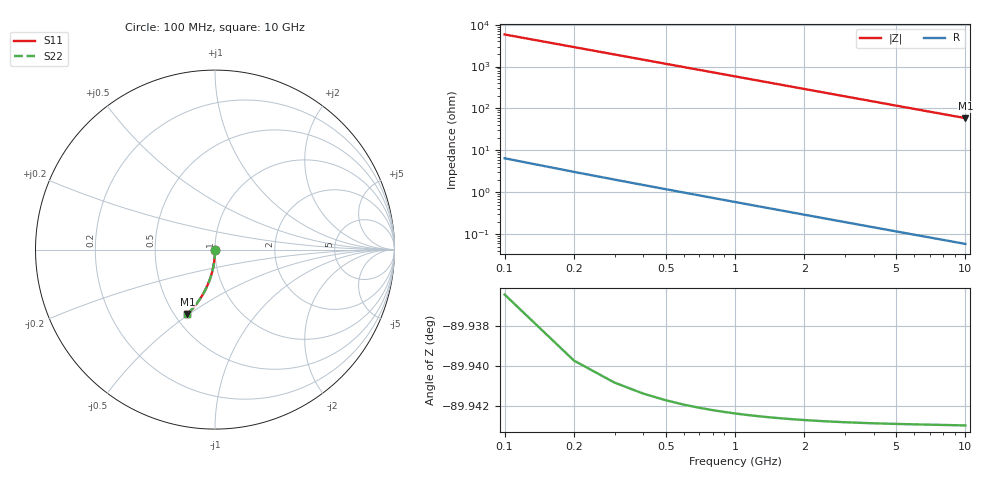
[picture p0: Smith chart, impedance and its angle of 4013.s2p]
# Hz S RI R 50.00
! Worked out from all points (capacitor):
!   100 points, 100 MHz to 10 GHz, reference 50 ohm
!   read as one part in shunt: C = 274 fF near 100 MHz
!   lowest |Z| = 58.7 ohm at 10 GHz (marker M1)
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1e8  -1.8e-05 -0.00428  1 -0.00432  1 -0.00432  -1.8e-05 -0.00428
2e8  -7.77e-05 -0.00857  0.9999 -0.00863  0.9999 -0.00863  -7.77e-05 -0.00857
3e8  -0.000174 -0.0128  0.9998 -0.0129  0.9998 -0.0129  -0.000174 -0.0128
4e8  -0.000308 -0.0171  0.9997 -0.0173  0.9997 -0.0173  -0.000308 -0.0171
5e8  -0.000478 -0.0214  0.9995 -0.0216  0.9995 -0.0216  -0.000478 -0.0214
6e8  -0.000686 -0.0257  0.9993 -0.0259  0.9993 -0.0259  -0.000686 -0.0257
7e8  -0.00093 -0.03  0.9991 -0.0302  0.9991 -0.0302  -0.00093 -0.03
8e8  -0.00121 -0.0342  0.9988 -0.0345  0.9988 -0.0345  -0.00121 -0.0342
9e8  -0.00153 -0.0385  0.9985 -0.0388  0.9985 -0.0388  -0.00153 -0.0385
1.1e9  -0.00227 -0.047  0.9977 -0.0473  0.9977 -0.0473  -0.00227 -0.047
1.4e9  -0.00366 -0.0597  0.9963 -0.0602  0.9963 -0.0602  -0.00366 -0.0597
1.8e9  -0.00601 -0.0766  0.994 -0.0771  0.994 -0.0771  -0.00601 -0.0766
2.1e9  -0.00815 -0.0891  0.9918 -0.0898  0.9918 -0.0898  -0.00815 -0.0891
2.5e9  -0.0115 -0.1057  0.9885 -0.1065  0.9885 -0.1065  -0.0115 -0.1057
2.9e9  -0.0154 -0.1221  0.9846 -0.123  0.9846 -0.123  -0.0154 -0.1221
3.4e9  -0.021 -0.1423  0.979 -0.1433  0.979 -0.1433  -0.021 -0.1423
4.2e9  -0.0316 -0.1737  0.9684 -0.175  0.9684 -0.175  -0.0316 -0.1737
5.1e9  -0.0457 -0.2076  0.9543 -0.2092  0.9543 -0.2092  -0.0457 -0.2076
5.9e9  -0.0601 -0.2363  0.9398 -0.2382  0.9398 -0.2382  -0.0601 -0.2363
6.7e9  -0.0761 -0.2636  0.9239 -0.2657  0.9239 -0.2657  -0.0761 -0.2636
8.4e9  -0.1142 -0.3162  0.8858 -0.319  0.8858 -0.319  -0.1142 -0.3162
1e10  -0.1541 -0.3589  0.8459 -0.3622  0.8459 -0.3622  -0.1541 -0.3589
